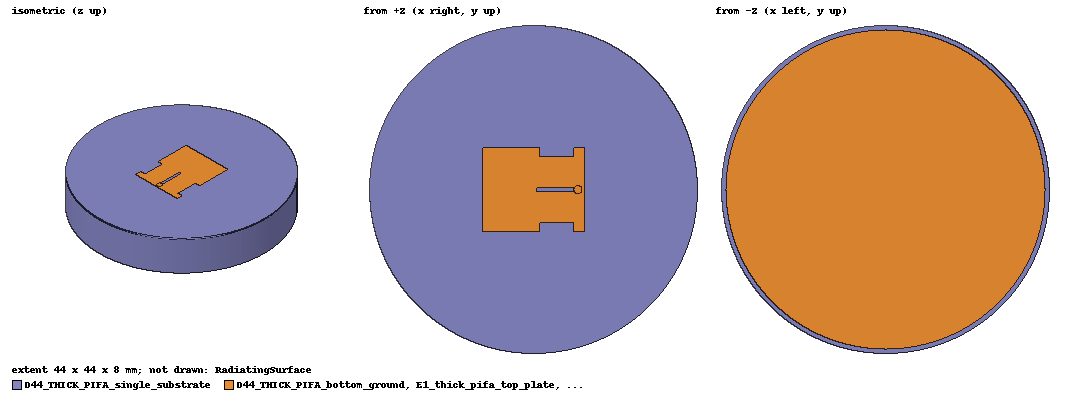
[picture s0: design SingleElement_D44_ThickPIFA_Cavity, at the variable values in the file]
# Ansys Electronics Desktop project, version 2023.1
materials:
  vacuum: permittivity=1
  RO4350B_custom_D44_Topology: permittivity=3.48 permeability=1 dielectric_loss_tangent=0.0037
  copper: permeability=0.999991 conductivity=58000000
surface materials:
  Steel-oxidised-surface

design SingleElement_D44_ThickPIFA_Cavity (HFSS, HFSS Modal Network, model units mm)
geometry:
  D44_THICK_PIFA_single_substrate [RO4350B_custom_D44_Topology] = cylinder(axis=Z, base_centre=(0mm, 0mm, 0mm), radius=22mm, height=8mm, segments=128)
  D44_THICK_PIFA_bottom_ground [copper] = circle(normal=Z, centre=(0mm, 0mm, 0mm), radius=21.4mm, segments=128)
  E1_thick_pifa_top_plate [copper] = polyline(z=8mm, xy in mm: (-6.8, -5.6) (6.8, -5.6) (6.8, 5.6) (-6.8, 5.6) (-6.8, -5.6), closed, covered)
  E1_thick_pifa_top_current_path_slot = polyline(z=8mm, xy in mm: (0.4, -0.275) (5.4, -0.275) (5.4, 0.275) (0.4, 0.275) (0.4, -0.275), closed, covered)
  E1_thick_pifa_edge_current_path_slot_pos = polyline(z=8mm, xy in mm: (0.8, 4.45) (5.4, 4.45) (5.4, 5.6) (0.8, 5.6) (0.8, 4.45), closed, covered)
  E1_thick_pifa_edge_current_path_slot_neg = polyline(z=8mm, xy in mm: (0.8, -5.6) (5.4, -5.6) (5.4, -4.45) (0.8, -4.45) (0.8, -5.6), closed, covered)
  E1_thick_pifa_top_plate.subtract(E1_thick_pifa_top_current_path_slot, E1_thick_pifa_edge_current_path_slot_pos, E1_thick_pifa_edge_current_path_slot_neg)
  E1_thick_pifa_short_wall [copper] = polyline(x=-6.8mm, yz in mm: (-3.1, 0) (3.1, 0) (3.1, 8) (-3.1, 8) (-3.1, 0), closed, covered)
  E1_thick_pifa_side_fence_pos [copper] = polyline(y=5.6mm, xz in mm: (-5.6, 0) (0.2, 0) (0.2, 8) (-5.6, 8) (-5.6, 0), closed, covered)
  E1_thick_pifa_side_fence_neg [copper] = polyline(y=-5.6mm, xz in mm: (-5.6, 0) (0.2, 0) (0.2, 8) (-5.6, 8) (-5.6, 0), closed, covered)
  E1_thick_pifa_open_edge_lip [copper] = polyline(x=6.8mm, yz in mm: (-3.9, 6.2) (3.9, 6.2) (3.9, 8) (-3.9, 8) (-3.9, 6.2), closed, covered)
  E1_thick_pifa_open_edge_coupler_pos [copper] = polyline(y=5.6mm, xz in mm: (1.2, 0.2) (6.8, 0.2) (6.8, 8) (1.2, 8) (1.2, 0.2), closed, covered)
  E1_thick_pifa_open_edge_coupler_neg [copper] = polyline(y=-5.6mm, xz in mm: (1.2, 0.2) (6.8, 0.2) (6.8, 8) (1.2, 8) (1.2, 0.2), closed, covered)
  P1_feed_pad [copper] = circle(normal=Z, centre=(5.95mm, 0mm, 8mm), radius=0.55mm, segments=36)
  P1_lumped_port_sheet = polyline(x=5.95mm, yz in mm: (-0.425, 0) (0.425, 0) (0.425, 8) (-0.425, 8) (-0.425, 0), closed, covered)
  RadiatingSurface [vacuum] = region(absolute_offset=14.285714mm on all sides)
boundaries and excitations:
  D44_THICK_PIFA_PEC_metallization: Perfect E Objects=[D44_THICK_PIFA_bottom_ground, E1_thick_pifa_top_plate, E1_thick_pifa_short_wall, E1_thick_pifa_side_fence_pos, E1_thick_pifa_side_fence_neg, E1_thick_pifa_open_edge_lip, E1_thick_pifa_open_edge_coupler_pos, E1_thick_pifa_open_edge_coupler_neg, P1_feed_pad]
  Open1: Radiation Objects=RadiatingSurface
  P1: Lumped Port Objects=P1_lumped_port_sheet LumpedPortType=Modal Modes{Mode1{IntLine{(5.95, 0, 8) -> (5.95, 0, 0)} CharImp=Zpi RenormImp=50ohm}} Impedance=50ohm
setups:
  Setup_CH9: HfssDriven Frequency=8GHz MaxDeltaS=0.03 MaximumPasses=5 MinimumPasses=2 MinimumConvergedPasses=1 PercentRefinement=30 BasisOrder=1 PortAccuracy=2 DrivenSolverType="Direct Solver"
    sweep Sweep_CH9: point 8GHz; SaveSingleField Type=Discrete SaveFields SaveRadFields
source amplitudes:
  P1:1: 1W 0deg
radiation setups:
  3D: Infinite Sphere Theta=0deg..180deg step 2deg Phi=-180deg..180deg step 2deg
  Elevation: Infinite Sphere Theta=-180deg..180deg step 1deg Phi=0deg..90deg step 90deg
  Azimuth: Infinite Sphere Theta=90deg..90deg step 0deg Phi=-180deg..180deg step 1deg
  Upper_Hemisphere_5deg: Infinite Sphere Theta=0deg..360deg step 5deg Phi=0deg..90deg step 5deg
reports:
  D44_THICK_PIFA_SINGLE_S_Parameters: dB(S(P1:1,P1:1)) vs Freq on Setup_CH9 : Sweep_CH9
  D44_THICK_PIFA_SINGLE_GainTotal_8GHz: dB(GainTotal) vs Phi, Theta on Setup_CH9 : Sweep_CH9, Upper_Hemisphere_5deg [Freq=8GHz]
  D44_THICK_PIFA_SINGLE_AxialRatio_8GHz: AxialRatioValue vs Phi, Theta on Setup_CH9 : Sweep_CH9, Upper_Hemisphere_5deg [Freq=8GHz]
